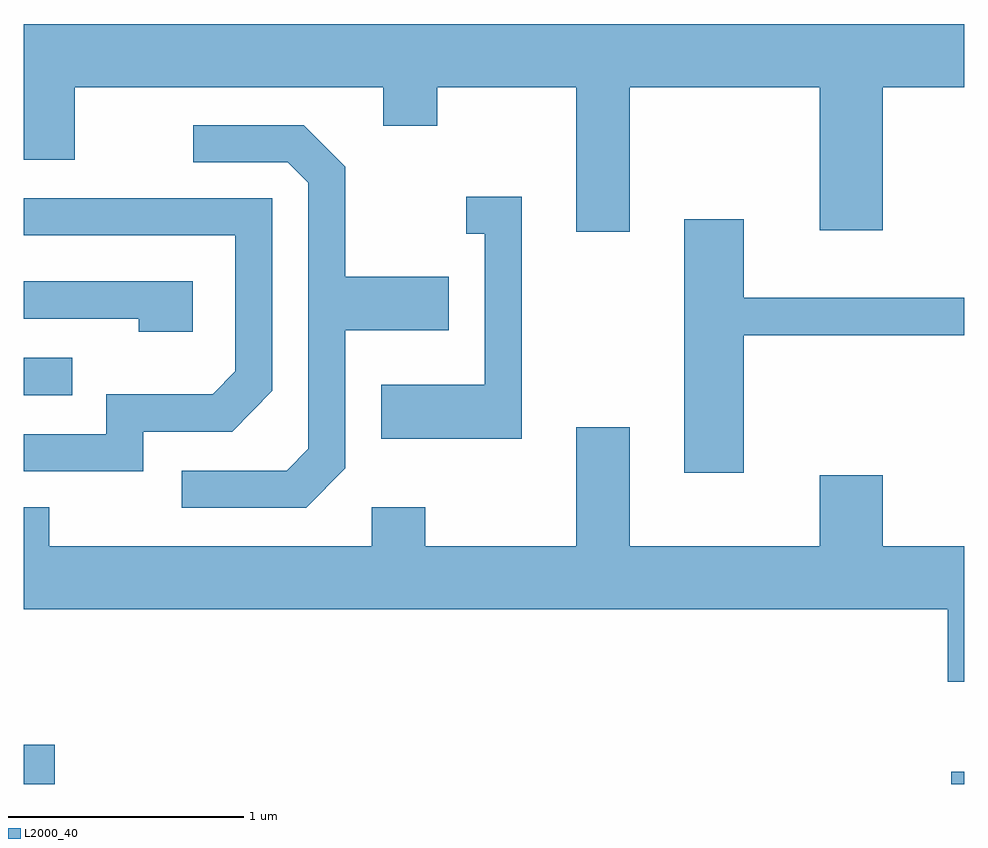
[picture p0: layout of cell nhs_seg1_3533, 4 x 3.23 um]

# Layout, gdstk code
import gdstk
lib = gdstk.Library(unit=1e-6, precision=1e-09)
def R(c, l, rs):  # rectangles x0, y0, x1, y1
    for r in rs: c.add(gdstk.rectangle(r[:2], r[2:], *l))
def P(c, l, *ps):  # polygons
    for p in ps: c.add(gdstk.Polygon(p, *l))
L2000_40 = (2000, 40)

nhs_seg1_3533 = lib.new_cell('nhs_seg1_3533')
R(nhs_seg1_3533, L2000_40, [(291.611,907.712,291.744,907.879), (295.556,907.712,295.611,907.764), (291.611,909.366,291.818,909.524)])
P(nhs_seg1_3533, L2000_40, [(294.189,910.676),(294.996,910.676),(294.996,910.066),(295.264,910.066),(295.264,910.676),(295.611,910.676),(295.611,910.944),(291.611,910.944),(291.611,910.366),(291.829,910.366),(291.829,910.676),(293.141,910.676),(293.141,910.511),(293.369,910.511),(293.369,910.676),(293.961,910.676),(293.961,910.061),(294.189,910.061)],
  [(292.979,909.054),(292.979,909.641),(293.419,909.641),(293.419,909.869),(292.979,909.869),(292.979,910.337),(292.802,910.514),(292.333,910.514),(292.333,910.356),(292.734,910.356),(292.821,910.269),(292.821,909.137),(292.729,909.044),(292.283,909.044),(292.283,908.886),(292.812,908.886)],
  [(293.729,910.209),(293.493,910.209),(293.493,910.051),(293.571,910.051),(293.571,909.409),(293.131,909.409),(293.131,909.181),(293.729,909.181)],
  [(292.119,909.211),(292.497,909.211),(292.669,909.384),(292.669,910.204),(291.611,910.204),(291.611,910.046),(292.511,910.046),(292.511,909.467),(292.414,909.369),(291.961,909.369),(291.961,909.199),(291.611,909.199),(291.611,909.041),(292.119,909.041)],
  [(294.674,909.621),(295.611,909.621),(295.611,909.779),(294.674,909.779),(294.674,910.114),(294.421,910.114),(294.421,909.036),(294.674,909.036)],
  [(292.329,909.849),(291.611,909.849),(291.611,909.691),(292.101,909.691),(292.101,909.636),(292.329,909.636)],
  [(295.611,908.724),(295.264,908.724),(295.264,909.024),(294.996,909.024),(294.996,908.724),(294.189,908.724),(294.189,909.229),(293.961,909.229),(293.961,908.724),(293.319,908.724),(293.319,908.889),(293.091,908.889),(293.091,908.724),(291.719,908.724),(291.719,908.889),(291.611,908.889),(291.611,908.456),(295.541,908.456),(295.541,908.146),(295.611,908.146)])

lib.write_gds('nhs_seg1_3533.gds')
